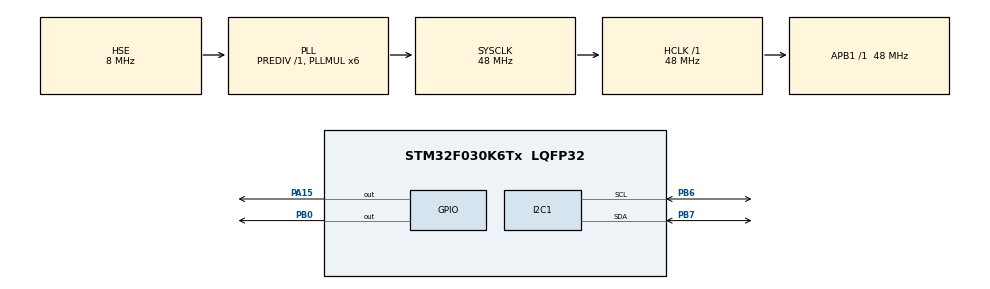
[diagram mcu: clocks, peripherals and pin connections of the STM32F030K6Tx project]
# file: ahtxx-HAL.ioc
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Mcu.Family=STM32F0
Mcu.Name=STM32F030K6Tx
Mcu.Package=LQFP32
NVIC.I2C1_IRQn=true\:0\:0\:false\:false\:true\:true\:true\:true
NVIC.TIM16_IRQn=true\:0\:0\:false\:false\:true\:true\:true\:true
PA13.Mode=Serial_Wire
PA13.Signal=SYS_SWDIO
PA14.Mode=Serial_Wire
PA14.Signal=SYS_SWCLK
PA15.Signal=GPIO_Output
PB0.Signal=GPIO_Output
PB6.Mode=I2C
PB6.Signal=I2C1_SCL
PB7.Mode=I2C
PB7.Signal=I2C1_SDA
PF0-OSC_IN.Mode=HSE-External-Oscillator
PF0-OSC_IN.Signal=RCC_OSC_IN
PF1-OSC_OUT.Mode=HSE-External-Oscillator
PF1-OSC_OUT.Signal=RCC_OSC_OUT
ProjectManager.HeapSize=0x200
ProjectManager.StackSize=0x400
ProjectManager.TargetToolchain=STM32CubeIDE
RCC.AHBFreq_Value=48000000
RCC.APB1Freq_Value=48000000
RCC.APB1TimFreq_Value=48000000
RCC.EnbaleCSS=true
RCC.HCLKFreq_Value=48000000
RCC.PLLMUL=RCC_PLL_MUL6
RCC.PLLSourceVirtual=RCC_PLLSOURCE_HSE
RCC.SYSCLKFreq_VALUE=48000000
RCC.SYSCLKSource=RCC_SYSCLKSOURCE_PLLCLK
TIM16.Period=1000-1
TIM16.Prescaler=4800-1
VP_TIM16_VS_ClockSourceINT.Mode=Enable_Timer
board=custom

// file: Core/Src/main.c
/* USER CODE BEGIN Header */
/**
  ******************************************************************************
  * @file           : main.c
  * @brief          : Main program body
  ******************************************************************************
  * @attention
  *
  * Copyright (c) 2023 STMicroelectronics.
  * All rights reserved.
  *
  * This software is licensed under terms that can be found in the LICENSE file
  * in the root directory of this software component.
  * If no LICENSE file comes with this software, it is provided AS-IS.
  *
  ******************************************************************************
  */
/* USER CODE END Header */
#include "main.h"

I2C_HandleTypeDef hi2c1;

TIM_HandleTypeDef htim16;

/* USER CODE BEGIN PV */

/* Variables for AHT10 */
uint8_t AHT10_RX_Data[6];
uint32_t AHT10_ADC_Raw;
float AHT10_Temperature;
float AHT10_Humidity;
uint8_t AHT10_TmpHum_Cmd[3] = {0xAC, 0x33, 0x00};

#define AHT10_ADRESS (0x38 << 1) // 0b1110000; Adress[7-bit]Wite/Read[1-bit]

uint8_t T_100ms = 255;
uint8_t AHT10_Switcher = 255;
/* USER CODE END PV */

void SystemClock_Config(void);
static void MX_GPIO_Init(void);
static void MX_I2C1_Init(void);
static void MX_TIM16_Init(void);

/* USER CODE BEGIN 0 */
/*********************************** aht10 FUNCTIONS ****************************************/
void HAL_TIM_PeriodElapsedCallback(TIM_HandleTypeDef *htim)
{
 if(htim->Instance == TIM16)
 {
	/* Set every 100ms */
	T_100ms = 255;
 }
}

void AHT10_GET()
{
	if(T_100ms)
		  	{
		  		if(AHT10_Switcher)
		  			{
		  				HAL_I2C_Master_Transmit_IT(&hi2c1, AHT10_ADRESS, (uint8_t*)AHT10_TmpHum_Cmd, 3); /* Send command (trigger measuremetns) + parameters */
		  			}
		  		else
		  			{
		  				HAL_I2C_Master_Receive_IT(&hi2c1, AHT10_ADRESS, (uint8_t*)AHT10_RX_Data, 6); /* Receive data: STATUS[1]:HIMIDITY[2.5]:TEMPERATURE[2.5] */
		  			}

		  		if(~AHT10_RX_Data[0] & 0x80)
		  		{
		  			/* Convert to Temperature in °C */
		  			AHT10_ADC_Raw = (((uint32_t)AHT10_RX_Data[3] & 15) << 16) | ((uint32_t)AHT10_RX_Data[4] << 8) | AHT10_RX_Data[5];
		  			AHT10_Temperature = (float)(AHT10_ADC_Raw * 200.00 / 1048576.00) - 50.00;

		  			/* Convert to Relative Humidity in % */
		  			AHT10_ADC_Raw = ((uint32_t)AHT10_RX_Data[1] << 12) | ((uint32_t)AHT10_RX_Data[2] << 4) | (AHT10_RX_Data[3] >> 4);
		  			AHT10_Humidity = (float)(AHT10_ADC_Raw*100.00/1048576.00);
		  		}

		  		AHT10_Switcher = ~AHT10_Switcher; /* Invert */
		  		GPIOB->ODR ^= GPIO_ODR_0; /* Green LED */
		  		T_100ms = 0; /* Nulify */
		  	}
}
/* USER CODE END 0 */

int main(void)
{

  /* MCU Configuration--------------------------------------------------------*/

  /* Reset of all peripherals, Initializes the Flash interface and the Systick. */
  HAL_Init();

  /* Configure the system clock */
  SystemClock_Config();

  /* Initialize all configured peripherals */
  MX_GPIO_Init();
  MX_I2C1_Init();
  MX_TIM16_Init();
  /* USER CODE BEGIN 2 */
  HAL_TIM_Base_Start_IT(&htim16);
  /* USER CODE END 2 */

  /* Infinite loop */
  /* USER CODE BEGIN WHILE */
  while (1)
  {
	  AHT10_GET();
	  //HAL_Delay(100);
    /* USER CODE END WHILE */

  }
}

void SystemClock_Config(void)
{
  RCC_OscInitTypeDef RCC_OscInitStruct = {0};
  RCC_ClkInitTypeDef RCC_ClkInitStruct = {0};
  RCC_PeriphCLKInitTypeDef PeriphClkInit = {0};

  /** Initializes the RCC Oscillators according to the specified parameters
  * in the RCC_OscInitTypeDef structure.
  */
  RCC_OscInitStruct.OscillatorType = RCC_OSCILLATORTYPE_HSI|RCC_OSCILLATORTYPE_HSE;
  RCC_OscInitStruct.HSEState = RCC_HSE_ON;
  RCC_OscInitStruct.HSIState = RCC_HSI_ON;
  RCC_OscInitStruct.HSICalibrationValue = RCC_HSICALIBRATION_DEFAULT;
  RCC_OscInitStruct.PLL.PLLState = RCC_PLL_ON;
  RCC_OscInitStruct.PLL.PLLSource = RCC_PLLSOURCE_HSE;
  RCC_OscInitStruct.PLL.PLLMUL = RCC_PLL_MUL6;
  RCC_OscInitStruct.PLL.PREDIV = RCC_PREDIV_DIV1;
  if (HAL_RCC_OscConfig(&RCC_OscInitStruct) != HAL_OK)
  {
    Error_Handler();
  }

  /** Initializes the CPU, AHB and APB buses clocks
  */
  RCC_ClkInitStruct.ClockType = RCC_CLOCKTYPE_HCLK|RCC_CLOCKTYPE_SYSCLK
                              |RCC_CLOCKTYPE_PCLK1;
  RCC_ClkInitStruct.SYSCLKSource = RCC_SYSCLKSOURCE_PLLCLK;
  RCC_ClkInitStruct.AHBCLKDivider = RCC_SYSCLK_DIV1;
  RCC_ClkInitStruct.APB1CLKDivider = RCC_HCLK_DIV1;

  if (HAL_RCC_ClockConfig(&RCC_ClkInitStruct, FLASH_LATENCY_1) != HAL_OK)
  {
    Error_Handler();
  }
  PeriphClkInit.PeriphClockSelection = RCC_PERIPHCLK_I2C1;
  PeriphClkInit.I2c1ClockSelection = RCC_I2C1CLKSOURCE_HSI;
  if (HAL_RCCEx_PeriphCLKConfig(&PeriphClkInit) != HAL_OK)
  {
    Error_Handler();
  }

  /** Enables the Clock Security System
  */
  HAL_RCC_EnableCSS();
}

static void MX_I2C1_Init(void)
{

  hi2c1.Instance = I2C1;
  hi2c1.Init.Timing = 0x2000090E;
  hi2c1.Init.OwnAddress1 = 0;
  hi2c1.Init.AddressingMode = I2C_ADDRESSINGMODE_7BIT;
  hi2c1.Init.DualAddressMode = I2C_DUALADDRESS_DISABLE;
  hi2c1.Init.OwnAddress2 = 0;
  hi2c1.Init.OwnAddress2Masks = I2C_OA2_NOMASK;
  hi2c1.Init.GeneralCallMode = I2C_GENERALCALL_DISABLE;
  hi2c1.Init.NoStretchMode = I2C_NOSTRETCH_DISABLE;
  if (HAL_I2C_Init(&hi2c1) != HAL_OK)
  {
    Error_Handler();
  }

  /** Configure Analogue filter
  */
  if (HAL_I2CEx_ConfigAnalogFilter(&hi2c1, I2C_ANALOGFILTER_ENABLE) != HAL_OK)
  {
    Error_Handler();
  }

  /** Configure Digital filter
  */
  if (HAL_I2CEx_ConfigDigitalFilter(&hi2c1, 0) != HAL_OK)
  {
    Error_Handler();
  }

}

static void MX_TIM16_Init(void)
{

  htim16.Instance = TIM16;
  htim16.Init.Prescaler = 4800-1;
  htim16.Init.CounterMode = TIM_COUNTERMODE_UP;
  htim16.Init.Period = 1000-1;
  htim16.Init.ClockDivision = TIM_CLOCKDIVISION_DIV1;
  htim16.Init.RepetitionCounter = 0;
  htim16.Init.AutoReloadPreload = TIM_AUTORELOAD_PRELOAD_DISABLE;
  if (HAL_TIM_Base_Init(&htim16) != HAL_OK)
  {
    Error_Handler();
  }

}

static void MX_GPIO_Init(void)
{
  GPIO_InitTypeDef GPIO_InitStruct = {0};

  /* GPIO Ports Clock Enable */
  __HAL_RCC_GPIOF_CLK_ENABLE();
  __HAL_RCC_GPIOB_CLK_ENABLE();
  __HAL_RCC_GPIOA_CLK_ENABLE();

  /*Configure GPIO pin Output Level */
  HAL_GPIO_WritePin(GPIOB, GPIO_PIN_0, GPIO_PIN_RESET);

  /*Configure GPIO pin Output Level */
  HAL_GPIO_WritePin(GPIOA, GPIO_PIN_15, GPIO_PIN_RESET);

  /*Configure GPIO pin : PB0 */
  GPIO_InitStruct.Pin = GPIO_PIN_0;
  GPIO_InitStruct.Mode = GPIO_MODE_OUTPUT_PP;
  GPIO_InitStruct.Pull = GPIO_NOPULL;
  GPIO_InitStruct.Speed = GPIO_SPEED_FREQ_LOW;
  HAL_GPIO_Init(GPIOB, &GPIO_InitStruct);

  /*Configure GPIO pin : PA15 */
  GPIO_InitStruct.Pin = GPIO_PIN_15;
  GPIO_InitStruct.Mode = GPIO_MODE_OUTPUT_PP;
  GPIO_InitStruct.Pull = GPIO_NOPULL;
  GPIO_InitStruct.Speed = GPIO_SPEED_FREQ_LOW;
  HAL_GPIO_Init(GPIOA, &GPIO_InitStruct);

}

void Error_Handler(void)
{
  __disable_irq();
  while (1)
  {
  }
}
